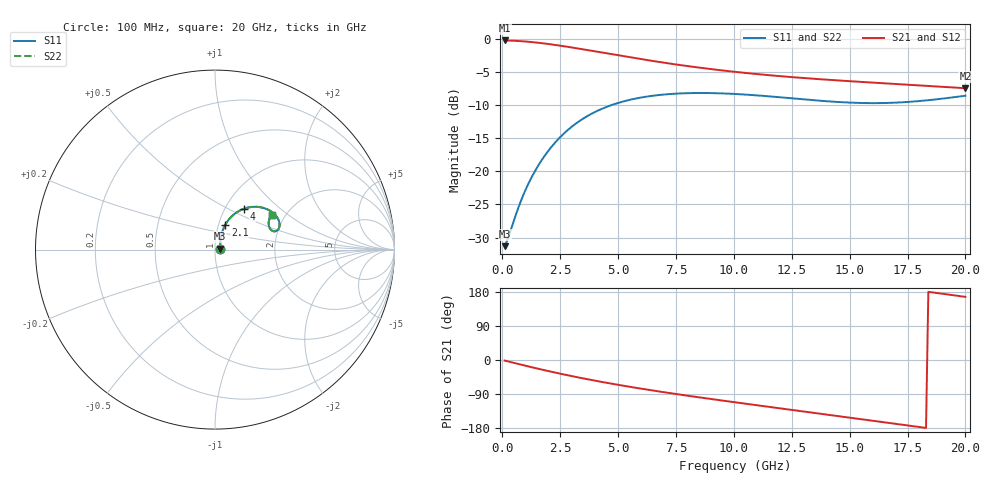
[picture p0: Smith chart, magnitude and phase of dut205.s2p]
! Created with skrf 1.9.0 (http://scikit-rf.org).
# GHz S RI R 50.0
!freq ReS11 ImS11 ReS21 ImS21 ReS12 ImS12 ReS22 ImS22
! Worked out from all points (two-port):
!   200 points, 100 MHz to 20 GHz, reference 50 ohm
!   highest |S21| = -0.24 dB at 100 MHz (marker M1); lowest = -7.4 dB at 20 GHz (marker M2)
!   |S21| within 3 dB of the highest: start of sweep to 6.32 GHz
!   lowest |S11| = -31.3 dB at 100 MHz (marker M3), VSWR 1.06, Z = 52.7 + j0.619 ohm
!   |S11| at or under -10 dB: start of sweep to 4.714 GHz
!   |S22| runs from -31.3 to -8.2 dB; largest |S21 - S12| = 2.4e-15
!   S11 on the Smith chart (normalised r, x): 100 MHz: 1.05, +0.01; 2.1 GHz: 1.08, +0.31; 4 GHz: 1.22, +0.61; 20 GHz: 1.71, +0.77
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0.1  0.0266 0.00586  0.9729 -0.0255  0.9729 -0.0255  0.0266 0.00586
0.2  0.0271 0.0121  0.971 -0.0514  0.971 -0.0514  0.0271 0.0121
0.3  0.0276 0.0186  0.9681 -0.0773  0.9681 -0.0773  0.0276 0.0186
0.7  0.0297 0.0446  0.9475 -0.1781  0.9475 -0.1781  0.0297 0.0446
1.1  0.0335 0.0713  0.913 -0.2721  0.913 -0.2721  0.0335 0.0713
1.6  0.0426 0.1058  0.8538 -0.3769  0.8538 -0.3769  0.0426 0.1058
2.1  0.058 0.1398  0.7818 -0.4653  0.7818 -0.4653  0.058 0.1398
2.8  0.09 0.1821  0.6688 -0.5607  0.6688 -0.5607  0.09 0.1821
3.5  0.1311 0.2136  0.551 -0.6256  0.551 -0.6256  0.1311 0.2136
4  0.163 0.2282  0.468 -0.6559  0.468 -0.6559  0.163 0.2282
4.6  0.2013 0.2372  0.3725 -0.6775  0.3725 -0.6775  0.2013 0.2372
5.3  0.2428 0.2375  0.2687 -0.6862  0.2687 -0.6862  0.2428 0.2375
6  0.2787 0.2294  0.1742 -0.6815  0.1742 -0.6815  0.2787 0.2294
6.8  0.3113 0.2135  0.0778 -0.664  0.0778 -0.664  0.3113 0.2135
8.4  0.3501 0.1727  -0.0815 -0.6047  -0.0815 -0.6047  0.3501 0.1727
10.1  0.3596 0.1331  -0.2111 -0.5215  -0.2111 -0.5215  0.3596 0.1331
11.7  0.3495 0.1091  -0.3042 -0.4323  -0.3042 -0.4323  0.3495 0.1091
13.4  0.3296 0.1016  -0.3775 -0.3289  -0.3775 -0.3289  0.3296 0.1016
15.1  0.3102 0.1122  -0.4253 -0.2185  -0.4253 -0.2185  0.3102 0.1122
16.7  0.2997 0.1349  -0.446 -0.1112  -0.446 -0.1112  0.2997 0.1349
18.3  0.3012 0.1642  -0.4423 -0.00548  -0.4423 -0.00548  0.3012 0.1642
20  0.3172 0.1948  -0.4127 0.0984  -0.4127 0.0984  0.3172 0.1948
